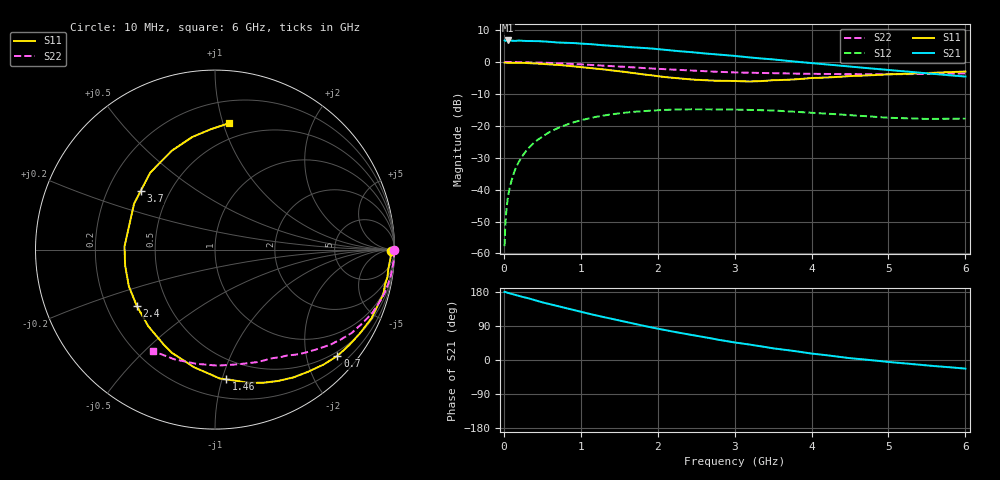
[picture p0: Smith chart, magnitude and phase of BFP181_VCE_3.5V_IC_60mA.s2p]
! Infineon Technologies  Discrete & RF Semiconductors
! BFP181
! VCE = 3.5 V,  IC =  60 mA
! Common Emitter S-Parameters:  Jan 2016
# GHz  S  MA  R  50
!  f  S11  S21  S12  S22
! GHz  MAG  ANG  MAG  ANG  MAG  ANG  MAG  ANG
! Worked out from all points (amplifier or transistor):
!   210 points, 10 MHz to 6 GHz, reference 50 ohm
!   highest |S21| = 6.7 dB at 50 MHz (marker M1)
!   |S21| within 3 dB of that: start of sweep to 2.113 GHz
!   unconditionally stable (mu >= 1): 3.594 GHz to end of sweep
!   at 185 MHz: K = 0.06, MSG = 19.2 dB, |S12| = -31.8 dB
!   at 1.52 GHz: K = 0.46, MSG = 10.5 dB, |S12| = -16.0 dB
!   at 6 GHz: K = 1.40, MAG = 2.8 dB, |S12| = -17.8 dB
!   S11 on the Smith chart (normalised r, x): 10 MHz: 74, -36; 700 MHz: 0.41, -2.62; 1.46 GHz: 0.34, -1.03; 2.4 GHz: 0.33, -0.29; 3.7 GHz: 0.34, +0.31; 6 GHz: 0.37, +1.05
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0.01  0.9784 -0.6  2.172 179.7  0.0013 80.9  0.9996 -0.2
0.015  0.9782 -0.9  2.161 179.7  0.0021 85.6  0.9996 -0.4
0.025  0.9782 -1.5  2.154 179.2  0.0036 88.6  0.9991 -0.7
0.05  0.979 -2.7  2.174 177.3  0.0071 90.4  0.9969 -1.4
0.085  0.9737 -4.9  2.157 175.4  0.0119 85.5  0.9981 -2.4
0.13  0.972 -7.8  2.142 172.9  0.0182 83.9  0.9972 -3.7
0.26  0.9686 -15.5  2.141 165.8  0.0362 79.5  0.9915 -7.4
0.5  0.9332 -29.8  2.107 152.2  0.0676 69.4  0.9764 -14.1
0.7  0.9032 -41.0  2.017 142.1  0.0918 61.7  0.9554 -19.3
1.02  0.83 -59.7  1.936 126.0  0.1237 49.4  0.9147 -27.2
1.1  0.8117 -64.4  1.922 122.0  0.1305 46.6  0.9039 -29.0
1.46  0.7253 -85.2  1.768 106.0  0.1546 35.2  0.8531 -36.6
1.8  0.6397 -106.3  1.666 90.7  0.1696 25.9  0.8057 -42.7
2.02  0.5954 -119.9  1.583 82.0  0.1761 20.4  0.7793 -46.3
2.4  0.5374 -144.0  1.442 67.5  0.1813 11.5  0.7369 -52.7
2.8  0.5085 -170.0  1.306 53.0  0.1815 4.0  0.7019 -58.6
3.1  0.4978 172.5  1.21 43.5  0.1783 -1.1  0.6817 -63.2
3.7  0.5272 141.9  1.037 25.7  0.1685 -8.7  0.6604 -73.1
4.1  0.5651 126.5  0.938 14.8  0.1579 -12.5  0.6492 -80.7
4.5  0.6019 113.4  0.85 4.8  0.147 -15.0  0.6465 -88.9
5.1  0.6449 99.4  0.731 -6.9  0.1325 -14.2  0.6443 -101.6
6  0.7082 83.7  0.591 -22.7  0.1294 -7.6  0.6621 -121.2
